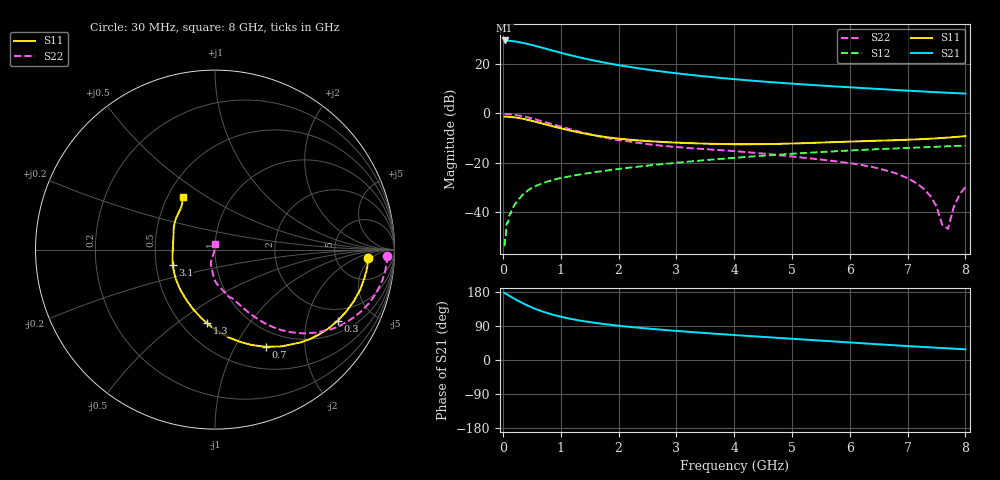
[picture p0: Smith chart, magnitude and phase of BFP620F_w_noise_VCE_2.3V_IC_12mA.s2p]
! Infineon Technologies  Discrete & RF Semiconductors
! BFP620F
! VCE =  2.3 V,  IC =  12 mA
! Common Emitter S-Parameters:  Dec 2014
# GHz  S  MA  R  50
!  f  S11  S21  S12  S22
! GHz  MAG  ANG  MAG  ANG  MAG  ANG  MAG  ANG
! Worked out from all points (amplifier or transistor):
!   95 points, 30 MHz to 8 GHz, reference 50 ohm
!   highest |S21| = 29.6 dB at 30 MHz (marker M1)
!   |S21| within 3 dB of that: start of sweep to 687.6 MHz
!   unconditionally stable (mu >= 1): 3.572 GHz to end of sweep
!   at 300 MHz: K = 0.27, MSG = 31.5 dB, |S12| = -34.2 dB
!   at 3.3 GHz: K = 0.99, MSG = 17.4 dB, |S12| = -19.5 dB
!   at 8 GHz: K = 1.08, MAG = 8.8 dB, |S12| = -13.1 dB
!   lowest NFmin = 0.64 dB at 450 MHz
!   S11 on the Smith chart (normalised r, x): 30 MHz: 12, -4; 300 MHz: 1.46, -3.09; 700 MHz: 0.78, -1.34; 1.3 GHz: 0.66, -0.65; 3.1 GHz: 0.61, -0.11; 8 GHz: 0.60, +0.40
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0.03  0.8552 -3.0  30.09 176.6  0.002 43.3  0.9586 -2.1
0.09  0.8493 -9.2  29.89 171.3  0.006 68.8  0.9563 -6.8
0.15  0.8387 -15.5  29.37 165.9  0.0108 73.1  0.9443 -11.4
0.25  0.8084 -25.3  28.24 157.3  0.0166 72.6  0.9111 -18.8
0.3  0.7909 -30.0  27.53 153.3  0.0194 70.6  0.8895 -22.2
0.4  0.7479 -39.2  26.03 145.6  0.0252 68.3  0.8392 -28.6
0.5  0.7022 -47.5  24.38 138.8  0.0305 66.2  0.787 -34.3
0.6  0.6544 -55.5  22.7 132.6  0.0346 63.3  0.7296 -39.3
0.7  0.6106 -62.5  21.11 127.2  0.0386 61.8  0.6773 -43.6
0.8  0.5682 -69.2  19.59 122.3  0.0421 60.4  0.6264 -47.3
1  0.4958 -81.0  16.94 114.3  0.0483 58.0  0.5378 -53.3
1.3  0.4111 -96.3  13.86 105.0  0.0563 56.1  0.431 -59.8
1.4  0.3905 -101.1  13.05 102.4  0.0589 55.6  0.4031 -61.6
1.9  0.3153 -122.1  9.965 92.2  0.0714 54.4  0.298 -69.3
2.7  0.2642 -148.9  7.171 80.5  0.0913 52.3  0.2222 -80.4
3.1  0.2511 -159.6  6.284 75.6  0.1014 51.2  0.2017 -84.5
4.1  0.2351 178.3  4.815 64.9  0.127 47.4  0.167 -90.8
5.4  0.2516 156.6  3.721 52.1  0.1605 41.0  0.1184 -97.9
6.7  0.282 138.5  3.014 39.5  0.1912 33.4  0.0653 -108.6
7.3  0.3006 129.2  2.756 34.1  0.2043 30.1  0.0277 -109.6
7.7  0.3214 124.5  2.609 30.7  0.2137 27.8  0.0045 112.3
8  0.3427 121.6  2.51 28.1  0.2207 25.8  0.0319 85.1
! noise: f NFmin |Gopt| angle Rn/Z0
0.45  0.64  0.22  8  0.21
0.9  0.71  0.2  19  0.18
1.5  0.76  0.19  21  0.13
1.8  0.79  0.19  23  0.11
1.9  0.8  0.14  38  0.14
2.4  0.84  0.12  53  0.12
3.5  0.93  0.11  76  0.12
5.5  1.1  0.1  193  0.09
6  1.14  0.1  221  0.14
